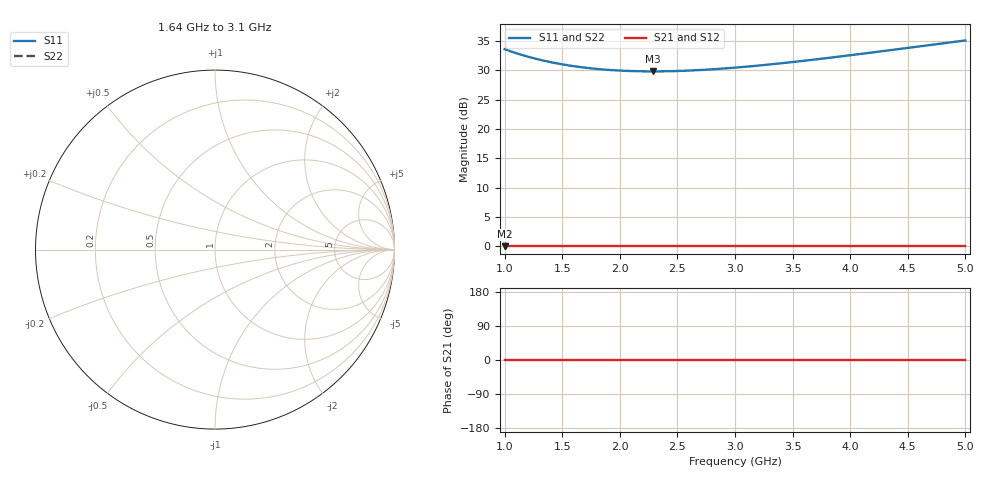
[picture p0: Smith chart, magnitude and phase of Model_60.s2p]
# GHZ S RI R 50
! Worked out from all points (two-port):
!   401 points, 1 GHz to 5 GHz, reference 50 ohm
!   highest |S21| = 0.00 dB at 1 GHz (marker M1); lowest = 0.0 dB at 1 GHz (marker M2)
!   |S21| within 3 dB of the highest: start of sweep to end of sweep
!   lowest |S11| = 29.8 dB at 2.29 GHz (marker M3)
!   |S11| at or under -10 dB: nowhere
!   |S22| runs from 29.8 to 35.1 dB; largest |S21 - S12| = 0
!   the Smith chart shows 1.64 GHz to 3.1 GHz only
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1  47.9 0  1 0  1 0  47.9 0
1.15  42.77 0  1 0  1 0  42.77 0
1.22  40.88 0  1 0  1 0  40.88 0
1.3  39.04 0  1 0  1 0  39.04 0
1.38  37.47 0  1 0  1 0  37.47 0
1.47  36 0  1 0  1 0  36 0
1.57  34.65 0  1 0  1 0  34.65 0
1.67  33.57 0  1 0  1 0  33.57 0
1.81  32.43 0  1 0  1 0  32.43 0
1.96  31.62 0  1 0  1 0  31.62 0
2.12  31.12 0  1 0  1 0  31.12 0
2.29  30.96 0  1 0  1 0  30.96 0
2.34  30.98 0  1 0  1 0  30.98 0
2.5  31.2 0  1 0  1 0  31.2 0
2.66  31.66 0  1 0  1 0  31.66 0
3  33.32 0  1 0  1 0  33.32 0
3.33  35.71 0  1 0  1 0  35.71 0
3.67  38.86 0  1 0  1 0  38.86 0
4  42.52 0  1 0  1 0  42.52 0
4.34  46.87 0  1 0  1 0  46.87 0
4.63  51.01 0  1 0  1 0  51.01 0
5  56.85 0  1 0  1 0  56.85 0
